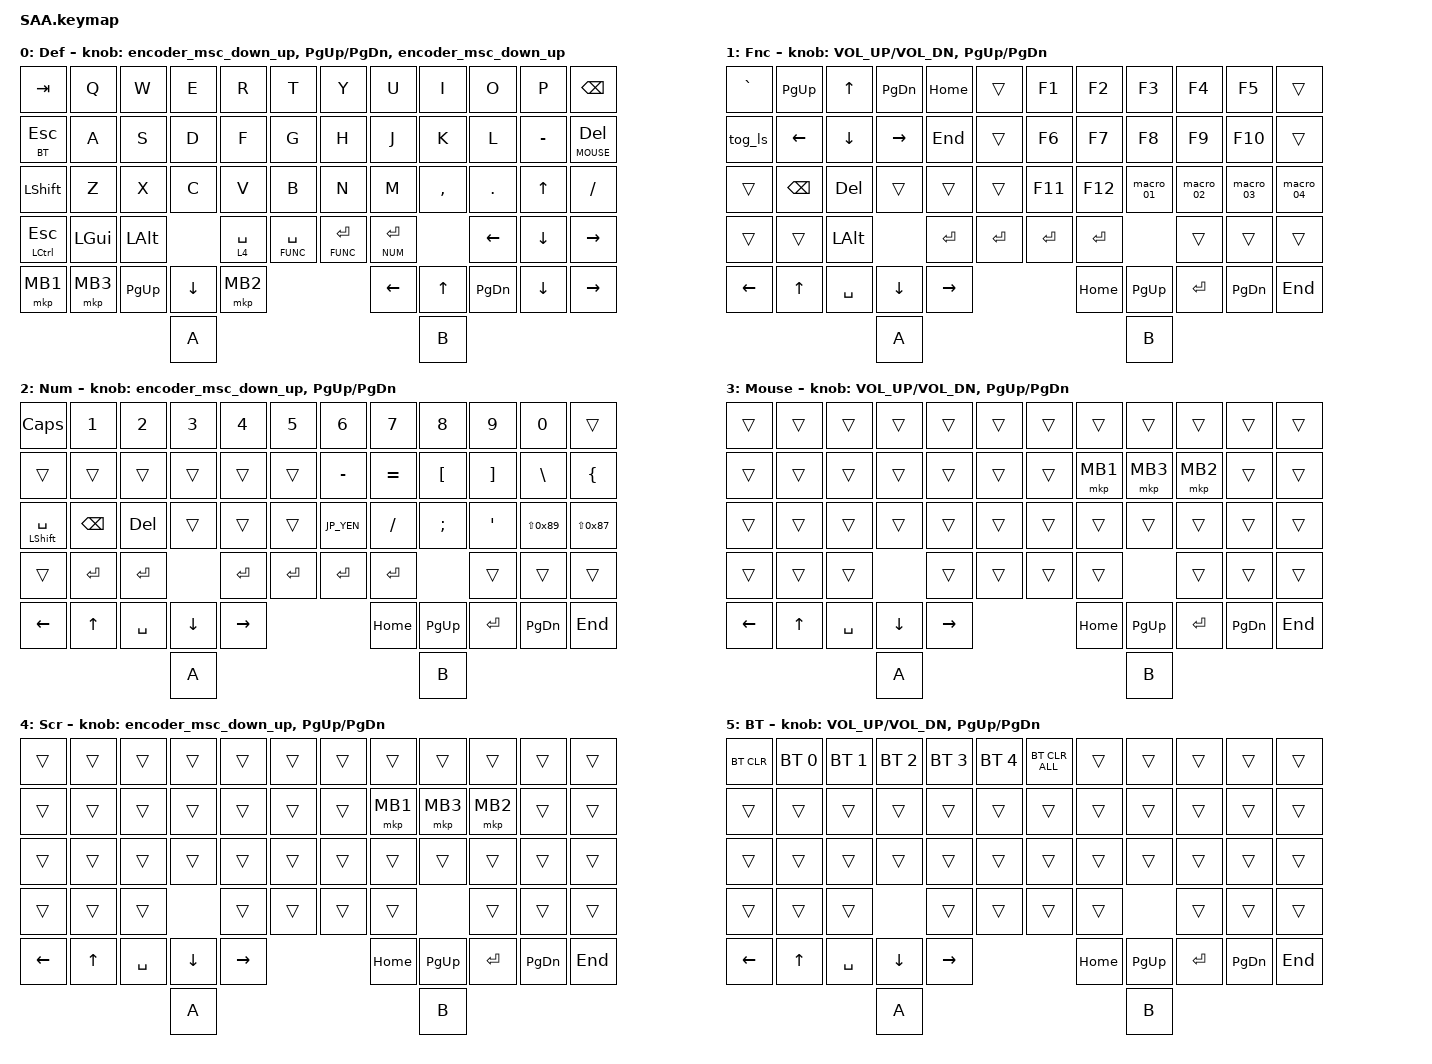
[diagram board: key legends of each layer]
// #include <layout_shift.dtsi>

#include <layout_shift_kp_override.dtsi>
#include <behaviors.dtsi>
#include <dt-bindings/zmk/bt.h>
#include <dt-bindings/zmk/keys.h>
#include <dt-bindings/zmk/pointing.h>

#define ZMK_POINTING_DEFAULT_SCRL_VAL 160
#define JP_DQUOTE       AT                // "
#define JP_AMPERSAND    CARET             // &
#define JP_QUOTE        AMPERSAND         // '
#define JP_EQUAL        UNDER             // =
#define JP_CARET        EQUAL             // ^
#define JP_YEN          0x89              // ¥
#define JP_PLUS         COLON             // +
#define JP_TILDE        PLUS              // ~
#define JP_PIPE         LS(0x89)          // |
#define JP_AT           LEFT_BRACKET      // @
#define JP_COLON        SINGLE_QUOTE      // :
#define JP_ASTERISK     DOUBLE_QUOTES     // *
#define JP_BACKQUOTE    LEFT_BRACE        // `
#define JP_UNDERSCORE   LS(0x87)          // _
#define JP_LBRACKET     RIGHT_BRACKET     // [
#define JP_RBRACKET     BACKSLASH         // ]
#define JP_LPAREN       ASTERISK          // (
#define JP_RPAREN       LEFT_PARENTHESIS  // )
#define JP_LBRACE       RIGHT_BRACE       // {
#define JP_RBRACE       PIPE              // }
#define JP_KANA         LANGUAGE_1        // かな
#define JP_EISU         LANGUAGE_2        // 英数
#define JP_HANZEN       GRAVE             // 半角/全角
#define DEF 0
#define FUNC 1
#define NUM 2
#define MOUSE 3
#define SCROLL 4
#define BT 5

&mt {
    flavor = "balanced";
    tapping-term-ms = <280>;
    quick-tap-ms = <175>;
    require-prior-idle-ms = <150>;
};

/ {
    macros {
        macro_01: macro_01 {
            compatible = "zmk,behavior-macro";
            #binding-cells = <0>;
            bindings = <&kp I &kp N &kp O &kp U &kp E &kp S &kp N1 &kp N5 &kp N3 &kp TAB>;
            label = "MACRO_01";
        };

        macro_02: macro_02 {
            compatible = "zmk,behavior-macro";
            #binding-cells = <0>;
            bindings = <&kp LS(B) &kp N4 &kp A &kp N7 &kp N2 &kp C &kp F &kp N2 &kp F &kp N5 &kp TAB>;
            label = "MACRO_02";
        };

        macro_03: macro_03 {
            compatible = "zmk,behavior-macro";
            #binding-cells = <0>;
            bindings = <&none &kp D &kp E &kp V &kp N6 &kp N5 &kp N1 &kp N8 &kp N9 &kp N2 &kp N7 &kp S &kp R &kp TAB>;
            label = "MACRO_03";
        };

        macro_04: macro_04 {
            compatible = "zmk,behavior-macro";
            #binding-cells = <0>;
            bindings = <&none &kp LS(C) &kp C &kp C &kp N &kp J &kp S &kp T &kp N8 &kp N8 &kp N7 &kp N6 &kp N5 &kp N4 &kp N3>;
            label = "MACRO_04";
        };
    };

    behaviors {
        encoder_msc_down_up: encoder_msc_down_up {
            compatible = "zmk,behavior-sensor-rotate";
            label = "ENCODER_MSC_DOWN_UP";
            #sensor-binding-cells = <0>;
            bindings = <&msc SCRL_DOWN>, <&msc SCRL_UP>;

            tap-ms = <20>;
        };
    };

    keymap {
        compatible = "zmk,keymap";

        default_layer {
            label = "Def";
            bindings = <
&kp TAB       &kp Q     &kp W        &kp E     &kp R        &kp T               &kp Y           &kp U          &kp I         &kp O          &kp P           &kp BKSP
&lt BT ESC    &kp A     &kp S        &kp D     &kp F        &kp G               &kp H           &kp J          &kp K         &kp L          &kp MINUS       &lt MOUSE DEL
&kp LSHFT     &kp Z     &kp X        &kp C     &kp V        &kp B               &kp N           &kp M          &kp COMMA     &kp DOT        &kp UP          &kp FSLH
&mt LCTL ESC  &kp LGUI  &kp LALT               &lt 4 SPACE  &lt FUNC SPACE      &lt FUNC ENTER  &lt NUM ENTER                &kp LEFT       &kp DOWN        &kp RIGHT
&mkp MB1      &mkp MB3  &kp PAGE_UP  &kp DOWN  &mkp MB2                                         &kp LEFT       &kp UP_ARROW  &kp PAGE_DOWN  &kp DOWN_ARROW  &kp RIGHT
                                     &kp A                                                                     &kp B
            >;

            sensor-bindings =
                <&encoder_msc_down_up>,
                <&inc_dec_kp PG_UP PG_DN>,
                <&encoder_msc_down_up>;
        };

        function_layer {
            label = "Fnc";
            bindings = <
&kp GRAVE  &kp PG_UP  &kp UP     &kp PG_DN  &kp HOME   &trans         &kp F1     &kp F2     &kp F3     &kp F4     &kp F5     &trans
&tog_ls    &kp LEFT   &kp DOWN   &kp RIGHT  &kp END    &trans         &kp F6     &kp F7     &kp F8     &kp F9     &kp F10    &trans
&trans     &kp BKSP   &kp DEL    &trans     &trans     &trans         &kp F11    &kp F12    &macro_01  &macro_02  &macro_03  &macro_04
&trans     &trans     &kp LALT              &kp ENTER  &kp ENTER      &kp ENTER  &kp ENTER             &trans     &trans     &trans
&kp LEFT   &kp UP     &kp SPACE  &kp DOWN   &kp RIGHT                            &kp HOME   &kp PG_UP  &kp ENTER  &kp PG_DN  &kp END
                                 &kp A                                                      &kp B
            >;

            sensor-bindings = <&inc_dec_kp C_VOL_UP C_VOL_DN &inc_dec_kp PG_UP PG_DN>;
        };

        num_layer {
            label = "Num";
            bindings = <
&kp CAPS         &kp N1         &kp N2     &kp N3    &kp N4     &kp N5         &kp N6      &kp N7     &kp N8     &kp N9     &kp N0       &trans
&trans           &trans         &trans     &trans    &trans     &trans         &kp MINUS   &kp EQUAL  &kp LBKT   &kp RBKT   &kp BSLH     &kp JP_BACKQUOTE
&mt LSHFT SPACE  &kp BACKSPACE  &kp DEL    &trans    &trans     &trans         &kp JP_YEN  &kp FSLH   &kp SEMI   &kp SQT    &kp JP_PIPE  &kp JP_UNDERSCORE
&trans           &kp ENTER      &kp ENTER            &kp ENTER  &kp ENTER      &kp ENTER   &kp ENTER             &trans     &trans       &trans
&kp LEFT         &kp UP         &kp SPACE  &kp DOWN  &kp RIGHT                             &kp HOME   &kp PG_UP  &kp ENTER  &kp PG_DN    &kp END
                                           &kp A                                                      &kp B
            >;

            sensor-bindings = <&encoder_msc_down_up>, <&inc_dec_kp PG_UP PG_DN>;
        };

        mouse_layer {
            label = "Mouse";
            bindings = <
&trans    &trans  &trans     &trans    &trans     &trans      &trans  &trans    &trans     &trans     &trans     &trans
&trans    &trans  &trans     &trans    &trans     &trans      &trans  &mkp MB1  &mkp MB3   &mkp MB2   &trans     &trans
&trans    &trans  &trans     &trans    &trans     &trans      &trans  &trans    &trans     &trans     &trans     &trans
&trans    &trans  &trans               &trans     &trans      &trans  &trans               &trans     &trans     &trans
&kp LEFT  &kp UP  &kp SPACE  &kp DOWN  &kp RIGHT                      &kp HOME  &kp PG_UP  &kp ENTER  &kp PG_DN  &kp END
                             &kp A                                              &kp B
            >;

            sensor-bindings = <&inc_dec_kp C_VOL_UP C_VOL_DN &inc_dec_kp PG_UP PG_DN>;
        };

        scroll_layer {
            label = "Scr";
            bindings = <
&trans    &trans  &trans     &trans    &trans     &trans      &trans  &trans    &trans     &trans     &trans     &trans
&trans    &trans  &trans     &trans    &trans     &trans      &trans  &mkp MB1  &mkp MB3   &mkp MB2   &trans     &trans
&trans    &trans  &trans     &trans    &trans     &trans      &trans  &trans    &trans     &trans     &trans     &trans
&trans    &trans  &trans               &trans     &trans      &trans  &trans               &trans     &trans     &trans
&kp LEFT  &kp UP  &kp SPACE  &kp DOWN  &kp RIGHT                      &kp HOME  &kp PG_UP  &kp ENTER  &kp PG_DN  &kp END
                             &kp A                                              &kp B
            >;

            sensor-bindings = <&encoder_msc_down_up>, <&inc_dec_kp PG_UP PG_DN>;
        };

        bt_layer {
            label = "BT";
            bindings = <
&bt BT_CLR  &bt BT_SEL 0  &bt BT_SEL 1  &bt BT_SEL 2  &bt BT_SEL 3  &bt BT_SEL 4      &bt BT_CLR_ALL  &trans    &trans     &trans     &trans     &trans
&trans      &trans        &trans        &trans        &trans        &trans            &trans          &trans    &trans     &trans     &trans     &trans
&trans      &trans        &trans        &trans        &trans        &trans            &trans          &trans    &trans     &trans     &trans     &trans
&trans      &trans        &trans                      &trans        &trans            &trans          &trans               &trans     &trans     &trans
&kp LEFT    &kp UP        &kp SPACE     &kp DOWN      &kp RIGHT                                       &kp HOME  &kp PG_UP  &kp ENTER  &kp PG_DN  &kp END
                                        &kp A                                                                   &kp B
            >;

            sensor-bindings = <&inc_dec_kp C_VOL_UP C_VOL_DN &inc_dec_kp PG_UP PG_DN>;
        };
    };
};
